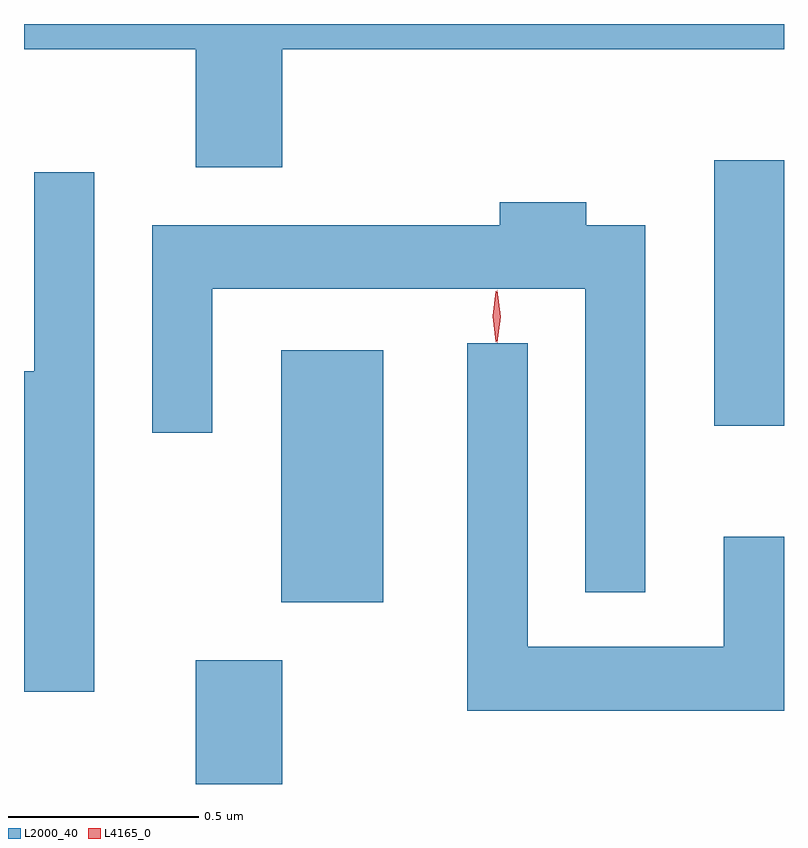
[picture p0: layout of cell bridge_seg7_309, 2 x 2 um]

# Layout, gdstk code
import gdstk
lib = gdstk.Library(unit=1e-6, precision=1e-09)
def R(c, l, rs):  # rectangles x0, y0, x1, y1
    for r in rs: c.add(gdstk.rectangle(r[:2], r[2:], *l))
def P(c, l, *ps):  # polygons
    for p in ps: c.add(gdstk.Polygon(p, *l))
L2000_40 = (2000, 40)
L4165_0 = (4165, 0)

bridge_seg7_309 = lib.new_cell('bridge_seg7_309')
R(bridge_seg7_309, L2000_40, [(1316.531,1798.963,1316.759,1799.289), (1316.756,1799.441,1317.024,1800.104), (1317.896,1799.906,1318.079,1800.604)])
P(bridge_seg7_309, L2000_40, [(1316.759,1800.896),(1318.079,1800.896),(1318.079,1800.963),(1316.079,1800.963),(1316.079,1800.896),(1316.531,1800.896),(1316.531,1800.586),(1316.759,1800.586)],
  [(1316.264,1800.573),(1316.106,1800.573),(1316.106,1800.049),(1316.079,1800.049),(1316.079,1799.206),(1316.264,1799.206)],
  [(1317.714,1800.434),(1317.559,1800.434),(1317.559,1800.494),(1317.331,1800.494),(1317.331,1800.434),(1316.416,1800.434),(1316.416,1799.888),(1316.574,1799.888),(1316.574,1800.266),(1317.556,1800.266),(1317.556,1799.468),(1317.714,1799.468)],
  [(1318.079,1799.614),(1317.921,1799.614),(1317.921,1799.324),(1317.404,1799.324),(1317.404,1800.123),(1317.246,1800.123),(1317.246,1799.156),(1318.079,1799.156)])
P(bridge_seg7_309, L4165_0, [(1317.324,1800.124),(1317.324,1800.124),(1317.314,1800.193),(1317.324,1800.262),(1317.324,1800.263),(1317.325,1800.262),(1317.334,1800.193),(1317.325,1800.124)],
  [(1317.321,1800.127),(1317.312,1800.194),(1317.321,1800.26),(1317.322,1800.26),(1317.322,1800.26),(1317.332,1800.194),(1317.322,1800.127),(1317.322,1800.127)])

lib.write_gds('bridge_seg7_309.gds')
